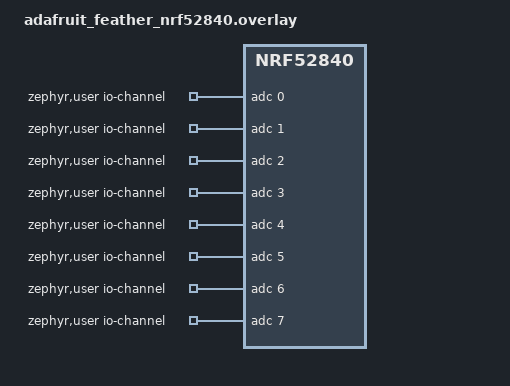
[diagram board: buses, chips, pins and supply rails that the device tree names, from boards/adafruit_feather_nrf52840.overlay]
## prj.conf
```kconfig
CONFIG_ADC=y

CONFIG_USB=y
CONFIG_USB_DEVICE_STACK=y
CONFIG_USB_DEVICE_PRODUCT="Zephyr USB console sample"
CONFIG_USB_UART_CONSOLE=y

CONFIG_UART_INTERRUPT_DRIVEN=y
CONFIG_UART_LINE_CTRL=y
CONFIG_UART_CONSOLE_ON_DEV_NAME="CDC_ACM_0"
```

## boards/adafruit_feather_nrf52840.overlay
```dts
/*
 * SPDX-License-Identifier: Apache-2.0
 *
 * Copyright (c) 2021 Alex Vandenberg <a.vandenberg0175@gmail.com>
 */

/ {
	zephyr,user {
		/* adjust channel number according to pinmux in board.dts */
		io-channels = <&adc 0>, <&adc 1>, <&adc 2>, <&adc 3>, <&adc 4>,
					  <&adc 5>, <&adc 6>, <&adc 7>;

/*
 *  analog pin corospond to the AIN number
 *  A0   = <&adc 2> = P0.04/AIN2
 *  A1   = <&adc 3> = P0.05/AIN3
 *  A2   = <&adc 6> = P0.30/AIN6
 *  A3   = <&adc 4> = P0.28/AIN4
 *  A4   = <&adc 0> = P0.02/AIN0
 *  A5   = <&adc 1> = P0.03/AIN1
 *  AREF = <&adc 7> = P0.31/AIN7
 *  VDIV = <&adc 5> = P0.29/AIN5
 */

	};
};
```

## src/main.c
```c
/*
 * Copyright (c) 2020 Libre Solar Technologies GmbH
 *
 * SPDX-License-Identifier: Apache-2.0
 */

#include <zephyr.h>
#include <sys/printk.h>
#include <drivers/adc.h>
#include <sys/util.h>
#include <usb/usb_device.h>
#include <drivers/uart.h>

#if !DT_NODE_EXISTS(DT_PATH(zephyr_user)) || \
	!DT_NODE_HAS_PROP(DT_PATH(zephyr_user), io_channels)
#error "No suitable devicetree overlay specified"
#endif

#define ADC_NUM_CHANNELS	DT_PROP_LEN(DT_PATH(zephyr_user), io_channels)

#if ADC_NUM_CHANNELS != 8
#error "Currently only 8 channels supported in this sample"
#endif

#define ADC_NODE		DT_PHANDLE(DT_PATH(zephyr_user), io_channels)

/* Common settings supported by most ADCs */
#define ADC_RESOLUTION			12
#define ADC_GAIN				ADC_GAIN_1_6
#define ADC_REFERENCE			ADC_REF_INTERNAL
#define ADC_ACQUISITION_TIME	ADC_ACQ_TIME_DEFAULT

/* Get the numbers of all 8 channels */
static uint8_t channel_ids[ADC_NUM_CHANNELS] = {
	DT_IO_CHANNELS_INPUT_BY_IDX(DT_PATH(zephyr_user), 0),
	DT_IO_CHANNELS_INPUT_BY_IDX(DT_PATH(zephyr_user), 1),
	DT_IO_CHANNELS_INPUT_BY_IDX(DT_PATH(zephyr_user), 2),
	DT_IO_CHANNELS_INPUT_BY_IDX(DT_PATH(zephyr_user), 3),
	DT_IO_CHANNELS_INPUT_BY_IDX(DT_PATH(zephyr_user), 4),
	DT_IO_CHANNELS_INPUT_BY_IDX(DT_PATH(zephyr_user), 5),
	DT_IO_CHANNELS_INPUT_BY_IDX(DT_PATH(zephyr_user), 6),
	DT_IO_CHANNELS_INPUT_BY_IDX(DT_PATH(zephyr_user), 7)
};

static int16_t sample_buffer[ADC_NUM_CHANNELS];

struct adc_channel_cfg channel_cfg = {
	.gain = ADC_GAIN,
	.reference = ADC_REFERENCE,
	.acquisition_time = ADC_ACQUISITION_TIME,
	/* channel ID will be overwritten below */
	.channel_id = 0,
	.differential = 0
};

struct adc_sequence sequence = {
	/* individual channels will be added below */
	.channels    = 0,
	.buffer      = sample_buffer,
	/* buffer size in bytes, not number of samples */
	.buffer_size = sizeof(sample_buffer),
	.resolution  = ADC_RESOLUTION,
};

void main(void)
{
	int err;
	const struct device *dev_adc = DEVICE_DT_GET(ADC_NODE);
	const struct device *dev = device_get_binding(
			CONFIG_UART_CONSOLE_ON_DEV_NAME);
	uint32_t dtr = 0;

	if (!device_is_ready(dev_adc)) {
		printk("ADC device not found\n");
		return;
	}

	if (usb_enable(NULL)) {
		return;
	}

	/* Poll if the DTR flag was set, optional */
	while (!dtr) {
		uart_line_ctrl_get(dev, UART_LINE_CTRL_DTR, &dtr);
	}

	if (strlen(CONFIG_UART_CONSOLE_ON_DEV_NAME) !=
	    strlen("CDC_ACM_0") ||
	    strncmp(CONFIG_UART_CONSOLE_ON_DEV_NAME, "CDC_ACM_0",
		    strlen(CONFIG_UART_CONSOLE_ON_DEV_NAME))) {
		printk("Error: Console device name is not USB ACM\n");

		return;
	}

	/*
	 * Configure channels individually prior to sampling
	 */
	for (uint8_t i = 0; i < ADC_NUM_CHANNELS; i++) {
		channel_cfg.channel_id = channel_ids[i];
#ifdef CONFIG_ADC_NRFX_SAADC
		channel_cfg.input_positive = SAADC_CH_PSELP_PSELP_AnalogInput0
					     + channel_ids[i];
#endif

		adc_channel_setup(dev_adc, &channel_cfg);

		sequence.channels |= BIT(channel_ids[i]);
	}

	int32_t adc_vref = adc_ref_internal(dev_adc);

	while (1) {
		/*
		 * Read sequence of channels (fails if not supported by MCU)
		 */
		err = adc_read(dev_adc, &sequence);
		if (err != 0) {
			printk("ADC reading failed with error %d.\n", err);
			return;
		}

		for (uint8_t i = 0; i < ADC_NUM_CHANNELS; i++) {
			printk("Channel %d:", channel_ids[i]);
			int32_t raw_value = sample_buffer[i];

			printk(" %d", raw_value);
			if (adc_vref > 0) {
				/*
				 * Convert raw reading to millivolts if driver
				 * supports reading of ADC reference voltage
				 */
				int32_t mv_value = raw_value;

				adc_raw_to_millivolts(adc_vref, ADC_GAIN,
					ADC_RESOLUTION, &mv_value);
				printk(" = %d mV  ", mv_value);
			}
		}
		printk("\n");

		printk("ADC_GAIN: %d, ADC_RESOLUTION %d, ADC_NUM_CHANNELS %d",
				ADC_GAIN,
				ADC_RESOLUTION,
				ADC_NUM_CHANNELS);
		printk(", ADC_REFERENCE %d\n",
				ADC_REFERENCE);

		k_sleep(K_MSEC(1000));
	}
}
```
